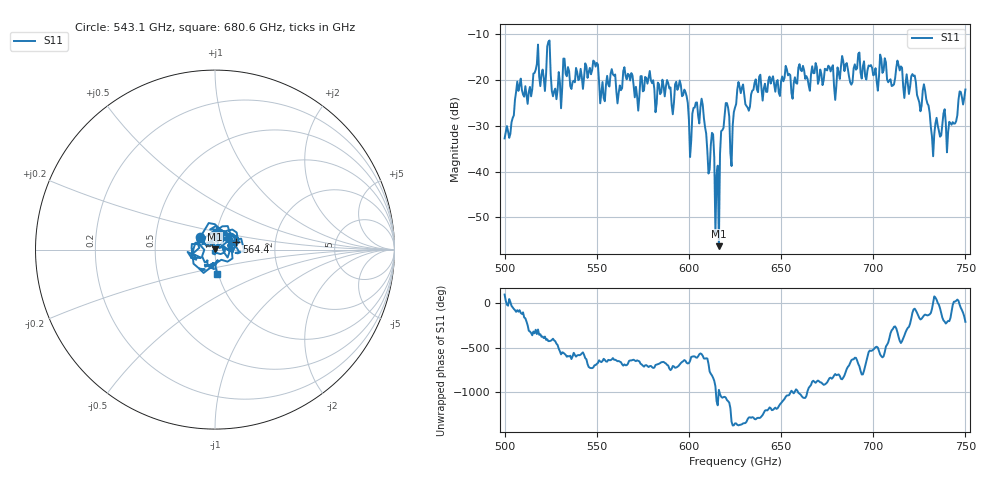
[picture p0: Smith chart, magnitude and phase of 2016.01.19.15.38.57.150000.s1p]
!Created with skrf (http://scikit-rf.org).
# GHz S RI R 50.0
!freq ReS11 ImS11
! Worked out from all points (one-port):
!   401 points, 500 GHz to 750 GHz, reference 50 ohm
!   lowest |S11| = -56.3 dB at 616.2 GHz (marker M1), VSWR 1.00, Z = 50 + j0.148 ohm
!   |S11| at or under -10 dB: start of sweep to end of sweep
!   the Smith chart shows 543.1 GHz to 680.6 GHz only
!   S11 on the Smith chart (normalised r, x): 543.1 GHz: 0.84, +0.12; 564.4 GHz: 1.26, +0.10; 680.6 GHz: 0.99, -0.27
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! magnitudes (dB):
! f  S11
! 500 GHz  -32.8
! 516.9 GHz  -17.8
! 526.9 GHz  -22.5
! 531.2 GHz  -21.8
! 543.1 GHz  -19.4
! 562.5 GHz  -21.2
! 564.4 GHz  -18.0
! 593.8 GHz  -22.1
! 600.6 GHz  -36.8
! 607.5 GHz  -25.4
! 610 GHz  -35.6
! 612.5 GHz  -31.5
! 615 GHz  -40.8
! 616.2 GHz  -56.3
! 619.4 GHz  -27.7
! 623.1 GHz  -38.8
! 625 GHz  -26.0
! 628.1 GHz  -22.9
! 631.9 GHz  -26.0
! 637.5 GHz  -22.7
! 656.2 GHz  -24.1
! 680.6 GHz  -17.3
! 687.5 GHz  -20.5
! 705 GHz  -18.4
! 718.8 GHz  -20.8
! 728.1 GHz  -22.3
! 732.5 GHz  -36.7
! 750 GHz  -22.1
